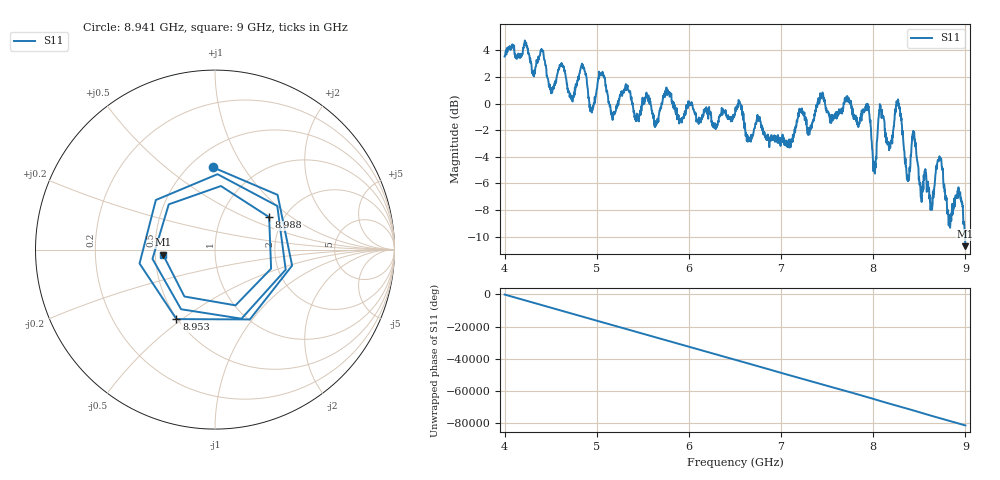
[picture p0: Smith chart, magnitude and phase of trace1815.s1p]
! Created with skrf 1.8.0 (http://scikit-rf.org).
# Hz S RI R 50.0
!freq ReS11 ImS11
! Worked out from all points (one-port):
!   1601 points, 4 GHz to 9 GHz, reference 50 ohm
!   lowest |S11| = -10.7 dB at 9 GHz (marker M1), VSWR 1.82, Z = 27.5 - j1.68 ohm
!   |S11| at or under -10 dB: 8.996312 GHz to end of sweep
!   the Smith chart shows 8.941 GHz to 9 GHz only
!   S11 on the Smith chart (normalised r, x): 8.941 GHz: 0.64, +0.74; 8.953 GHz: 0.49, -0.48; 8.988 GHz: 1.68, +0.69; 9 GHz: 0.55, -0.03
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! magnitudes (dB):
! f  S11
! 4 GHz  3.5
! 4.403 GHz  4.0
! 4.506 GHz  0.8
! 4.625 GHz  3.0
! 4.725 GHz  0.6
! 4.856 GHz  2.7
! 4.944 GHz  -0.4
! 5.05 GHz  2.2
! 5.175 GHz  -0.7
! 5.25 GHz  0.6
! 5.875 GHz  -0.9
! 6.5 GHz  -0.8
! 7.125 GHz  -2.9
! 7.75 GHz  0.2
! 7.938 GHz  0.0
! 8.012 GHz  -5.1
! 8.078 GHz  -0.1
! 8.172 GHz  -3.5
! 8.272 GHz  0.2
! 8.375 GHz  -5.8
! 8.441 GHz  -2.5
! 8.628 GHz  -7.6
! 8.719 GHz  -4.0
! 8.828 GHz  -8.4
! 8.941 GHz  -6.8
! 8.953 GHz  -7.1
! 8.988 GHz  -9.1
! 9 GHz  -10.7
